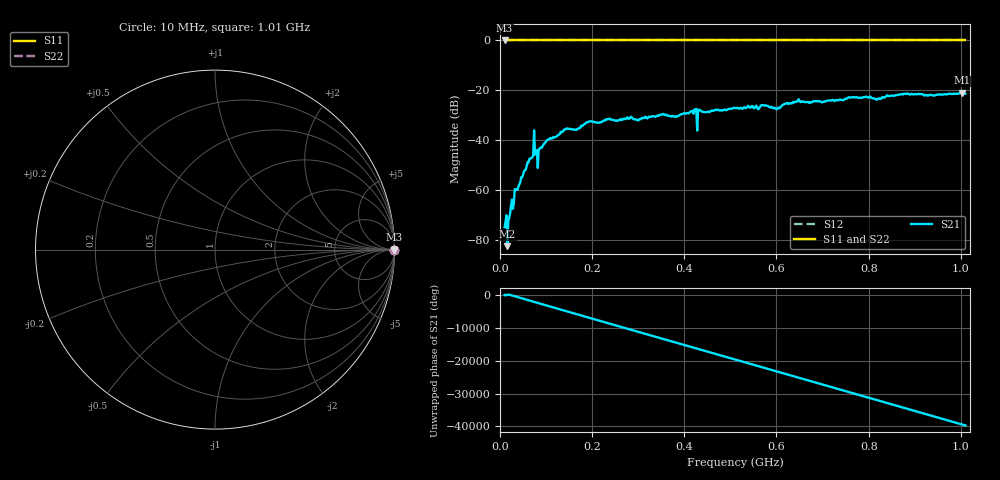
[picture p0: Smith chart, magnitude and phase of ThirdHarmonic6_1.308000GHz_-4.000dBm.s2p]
! 8/16/2025 2:26:27 PM
! C:\ANRITSUVNA\TEMP\TEMP.S2P
! CHANNEL.1
! TR.MEASUREMENT
! RAW.DATA
! RF.CORRECTION.OFF
! AVERAGING.OFF
! IF.BANDWIDTH: 5KHZ
! SWEEPTYPE:  FREQ.SWEEP(Linear)
! Reference Plane Port Info
! PORT:  PORT1  PORT2
! DISTANCE:  0  m  0  m
! TIME:  0  s  0  s
! PHASE.OFFSET:  0  deg.  0  deg.
! LOSS:  0  dB  0  dB
! REF.LOSS:  0  dB  0  dB
! REF.FREQ:  0  Hz  0  Hz
! Power Info
! POWER:  -20  dBm  -20  dBm
! EFF.POWER:  -20  dBm  -20  dBm
! SOURCE.ATTEN:  0  dB  0  dB
! TEST.ATTEN:  0  dB  0  dB
# GHZ S RI R 50.0
! FREQ.GHZ  S11RE  S11IM  S21RE  S21IM  S12RE  S12IM  S22RE  S22IM
!; PortSelection: Port_12
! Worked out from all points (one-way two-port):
!   501 points, 10 MHz to 1.01 GHz, reference 50 ohm
!   highest |S21| = -20.92 dB at 1.002 GHz (marker M1); lowest = -82.5 dB at 16 MHz (marker M2)
!   lowest |S11| = 0.0 dB at 10 MHz (marker M3)
!   |S11| at or under -10 dB: nowhere
!   |S22| runs from 0.0 to 0.0 dB; largest |S21 - S12| = 1.1
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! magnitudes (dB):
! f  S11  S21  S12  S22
! 10 MHz  0.0  -74.8  0.0  0.0
! 16 MHz  0.0  -82.5  0.0  0.0
! 20 MHz  0.0  -71.1  0.0  0.0
! 22 MHz  0.0  -69.3  0.0  0.0
! 36 MHz  0.0  -59.7  0.0  0.0
! 68 MHz  0.0  -47.2  0.0  0.0
! 70 MHz  0.0  -47.0  0.0  0.0
! 76 MHz  0.0  -45.8  0.0  0.0
! 80 MHz  0.0  -43.9  0.0  0.0
! 104 MHz  0.0  -39.8  0.0  0.0
! 142 MHz  0.0  -35.7  0.0  0.0
! 178 MHz  0.0  -34.4  0.0  0.0
! 234 MHz  0.0  -31.5  0.0  0.0
! 344 MHz  0.0  -30.2  0.0  0.0
! 510 MHz  0.0  -27.1  0.0  0.0
! 572 MHz  0.0  -26.0  0.0  0.0
! 602 MHz  0.0  -27.3  0.0  0.0
! 646 MHz  0.0  -24.4  0.0  0.0
! 678 MHz  0.0  -24.7  0.0  0.0
! 844 MHz  0.0  -22.3  0.0  0.0
! 1.002 GHz  0.0  -20.9  0.0  0.0
! 1.01 GHz  0.0  -21.4  0.0  0.0
